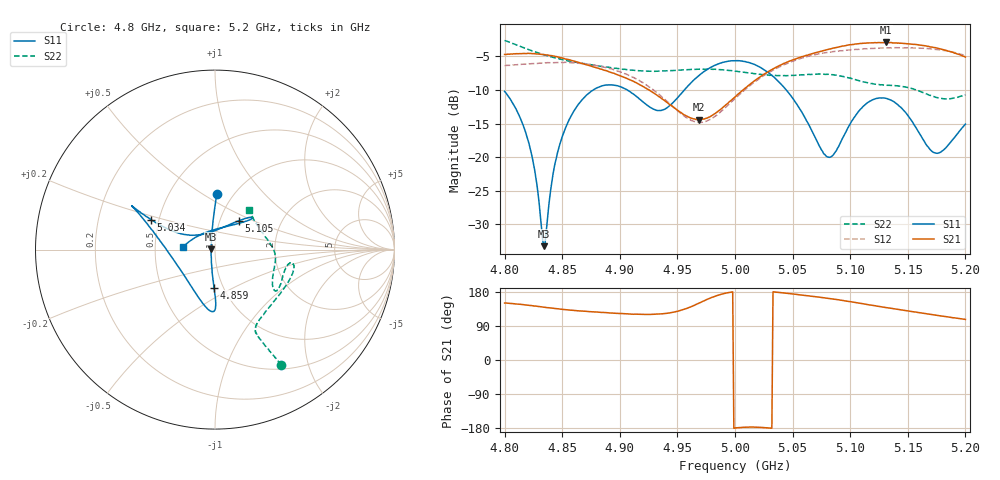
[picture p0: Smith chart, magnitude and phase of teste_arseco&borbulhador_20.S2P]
! Network Analyzer HP8722D
! Hewlett-Packard
! Data name: Linha & Wilkinson
! Saver's name: Rodrigo Anjos
! Comments: Teste da utilização de aquisição
! continua pelo VNA HP8722D
! Time and date: 15/4/2025 15:48
!  Frequency  S11  S21  S12  S22
# HZ  S  MA R 50
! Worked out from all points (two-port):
!   401 points, 4.8 GHz to 5.2 GHz, reference 50 ohm
!   highest |S21| = -2.91 dB at 5.131 GHz (marker M1); lowest = -14.4 dB at 4.969 GHz (marker M2)
!   |S21| within 3 dB of the highest: start of sweep to 4.865 GHz; 5.044 GHz to end of sweep
!   lowest |S11| = -33.2 dB at 4.834 GHz (marker M3), VSWR 1.04, Z = 47.9 + j0.26 ohm
!   |S11| at or under -10 dB: start of sweep to 4.877 GHz; 4.907 GHz to 4.956 GHz (49.41 MHz wide, 1 % of centre); 5.045 GHz to end of sweep
!   |S22| runs from -11.3 to -2.6 dB; largest |S21 - S12| = 1.3
!   S11 on the Smith chart (normalised r, x): 4.8 GHz: 0.84, +0.57; 4.859 GHz: 0.90, -0.40; 5.034 GHz: 0.45, +0.18; 5.105 GHz: 1.23, +0.41; 5.2 GHz: 0.70, +0.02
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4.8e9  0.3093 88.2  0.5828 150.3  0.4807 -111.6  0.7403 -60.1
4.812e9  0.2104 91.3  0.5897 147.3  0.4901 -111.1  0.676 -61.1
4.821e9  0.128 96.3  0.5932 144.4  0.4973 -110.7  0.632 -61.7
4.827e9  0.07137 104.8  0.5884 142.4  0.4987 -110.1  0.6069 -62.4
4.834e9  0.02178 172.9  0.5818 139.4  0.5026 -109.4  0.5792 -62.9
4.836e9  0.02716 -142.9  0.5769 138.6  0.5038 -109.3  0.5735 -63.0
4.841e9  0.06534 -108.2  0.5705 136.6  0.5052 -109.0  0.5579 -63.3
4.845e9  0.09938 -100.2  0.5616 135.4  0.5068 -108.9  0.5466 -63.5
4.859e9  0.2122 -91.4  0.5233 131.2  0.5041 -108.6  0.5153 -64.0
4.867e9  0.2664 -89.5  0.5008 129.1  0.4983 -108.7  0.5001 -63.3
4.895e9  0.344 -93.7  0.4221 123.7  0.4474 -111.5  0.4597 -57.0
4.934e9  0.2226 -146.0  0.2825 121.2  0.2945 -116.4  0.4371 -35.5
4.969e9  0.4082 158.8  0.1902 150.6  0.1815 -85.5  0.4526 -16.9
5e9  0.5244 152.3  0.2814 -179.5  0.2742 -49.8  0.4373 -10.0
5.034e9  0.394 154.8  0.4593 179.5  0.4493 -43.3  0.4072 -15.4
5.067e9  0.1554 148.9  0.5899 168.1  0.5742 -46.6  0.4138 -29.3
5.083e9  0.1003 101.8  0.6406 161.7  0.6071 -49.6  0.4121 -33.8
5.105e9  0.2071 50.7  0.6967 151.4  0.6355 -54.4  0.3765 -31.6
5.131e9  0.2746 40.0  0.7155 138.4  0.652 -62.3  0.3439 -14.8
5.134e9  0.269 39.9  0.7129 137.1  0.6514 -63.3  0.3432 -12.5
5.174e9  0.1075 104.4  0.6543 118.5  0.6355 -77.3  0.2796 20.0
5.2e9  0.1764 174.5  0.5569 107.1  0.572 -86.3  0.2912 49.9
